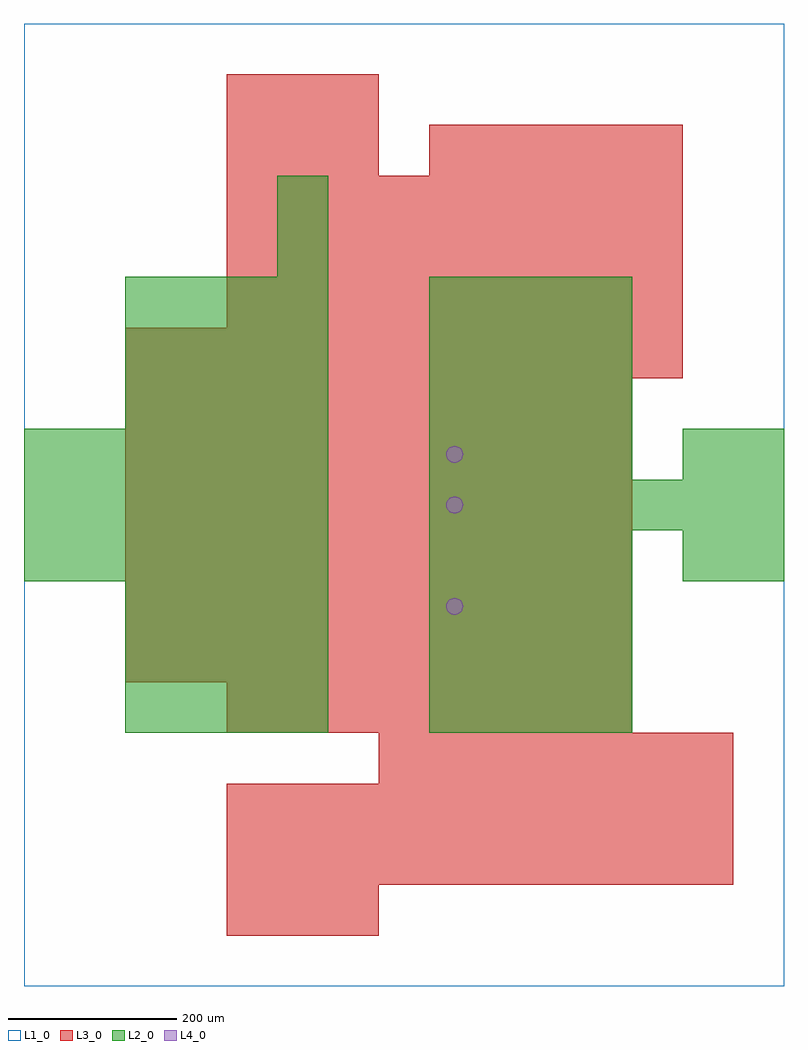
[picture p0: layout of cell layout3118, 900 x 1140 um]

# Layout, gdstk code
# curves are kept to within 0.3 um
import gdstk
lib = gdstk.Library(unit=1e-6, precision=1e-09)
def R(c, l, rs):  # rectangles x0, y0, x1, y1
    for r in rs: c.add(gdstk.rectangle(r[:2], r[2:], *l))
def A(c, l, x, y, w, h, nx, ny, dx, dy):  # array of equal rectangles
    R(c, l, [(x+i*dx, y+j*dy, x+i*dx+w, y+j*dy+h) for i in range(nx) for j in range(ny)])
def P(c, l, *ps):  # polygons
    for p in ps: c.add(gdstk.Polygon(p, *l))
L1_0 = (1, 0)
L2_0 = (2, 0)
L3_0 = (3, 0)
L4_0 = (4, 0)

layout3118 = lib.new_cell('layout3118')
R(layout3118, L1_0, [(0,0,900,1140)])
A(layout3118, L2_0, 120, 300, 60, 60, 4, 3, 60, 60)
A(layout3118, L2_0, 480, 300, 60, 60, 4, 4, 60, 60)
A(layout3118, L2_0, 0, 480, 60, 60, 6, 3, 60, 60)
A(layout3118, L2_0, 480, 540, 60, 60, 7, 1, 60, 0)
A(layout3118, L2_0, 480, 600, 60, 60, 4, 4, 60, 60)
A(layout3118, L2_0, 120, 660, 60, 60, 4, 3, 60, 60)
R(layout3118, L2_0, [(780,480,840,540), (840,480,900,540), (780,600,840,660), (840,600,900,660), (300,840,360,900), (300,900,360,960)])
A(layout3118, L3_0, 240, 60, 60, 60, 3, 2, 60, 900)
A(layout3118, L3_0, 240, 120, 60, 60, 10, 2, 60, 60)
A(layout3118, L3_0, 420, 240, 60, 60, 7, 1, 60, 0)
A(layout3118, L3_0, 240, 300, 60, 60, 8, 1, 60, 0)
A(layout3118, L3_0, 120, 360, 60, 60, 10, 6, 60, 60)
A(layout3118, L3_0, 120, 720, 60, 60, 11, 1, 60, 0)
A(layout3118, L3_0, 240, 780, 60, 60, 9, 3, 60, 60)
A(layout3118, L3_0, 480, 960, 60, 60, 5, 1, 60, 0)
A(layout3118, L3_0, 240, 1020, 60, 60, 3, 1, 60, 0)
P(layout3118, L4_0, [(520,450),(519.239,453.827),(517.071,457.071),(513.827,459.239),(510,460),(506.173,459.239),(502.929,457.071),(500.761,453.827),(500,450),(500.761,446.173),(502.929,442.929),(506.173,440.761),(510,440),(513.827,440.761),(517.071,442.929),(519.239,446.173)],
  [(520,570),(519.239,573.827),(517.071,577.071),(513.827,579.239),(510,580),(506.173,579.239),(502.929,577.071),(500.761,573.827),(500,570),(500.761,566.173),(502.929,562.929),(506.173,560.761),(510,560),(513.827,560.761),(517.071,562.929),(519.239,566.173)],
  [(520,630),(519.239,633.827),(517.071,637.071),(513.827,639.239),(510,640),(506.173,639.239),(502.929,637.071),(500.761,633.827),(500,630),(500.761,626.173),(502.929,622.929),(506.173,620.761),(510,620),(513.827,620.761),(517.071,622.929),(519.239,626.173)])

lib.write_gds('layout3118.gds')
